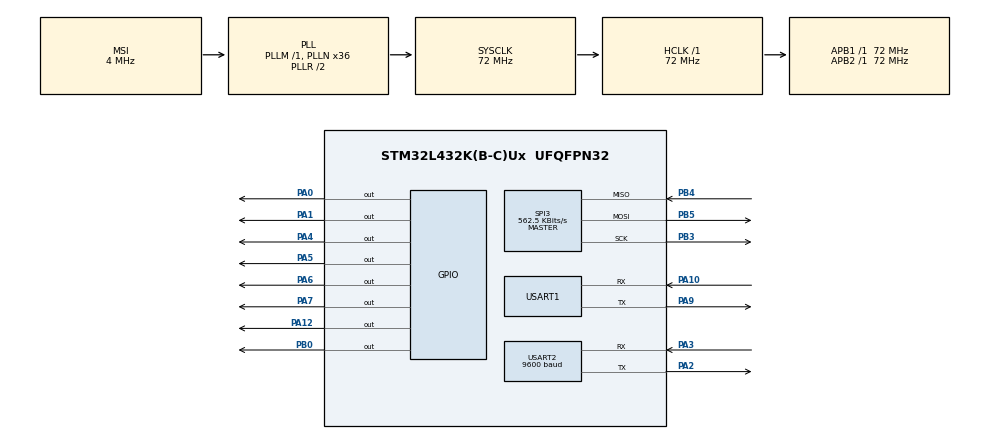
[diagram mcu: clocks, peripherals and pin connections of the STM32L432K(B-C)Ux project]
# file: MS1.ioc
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Mcu.Family=STM32L4
Mcu.Name=STM32L432K(B-C)Ux
Mcu.Package=UFQFPN32
NVIC.PriorityGroup=NVIC_PRIORITYGROUP_4
NVIC.USART1_IRQn=true\:0\:0\:false\:false\:true\:true\:true
PA0.Signal=GPIO_Output
PA1.Signal=GPIO_Output
PA10.Mode=Asynchronous
PA10.Signal=USART1_RX
PA12.Signal=GPIO_Output
PA2.Mode=Asynchronous
PA2.Signal=USART2_TX
PA3.Mode=Asynchronous
PA3.Signal=USART2_RX
PA4.Signal=GPIO_Output
PA5.Signal=GPIO_Output
PA6.Signal=GPIO_Output
PA7.Signal=GPIO_Output
PA9.Mode=Asynchronous
PA9.Signal=USART1_TX
PB0.Signal=GPIO_Output
PB3\ (JTDO-TRACESWO).Mode=Full_Duplex_Master
PB3\ (JTDO-TRACESWO).Signal=SPI3_SCK
PB4\ (NJTRST).Mode=Full_Duplex_Master
PB4\ (NJTRST).Signal=SPI3_MISO
PB5.Mode=Full_Duplex_Master
PB5.Signal=SPI3_MOSI
ProjectManager.HeapSize=0x200
ProjectManager.StackSize=0x400
ProjectManager.TargetToolchain=STM32CubeIDE
RCC.AHBFreq_Value=72000000
RCC.APB1Freq_Value=72000000
RCC.APB1TimFreq_Value=72000000
RCC.APB2Freq_Value=72000000
RCC.APB2TimFreq_Value=72000000
RCC.CortexFreq_Value=72000000
RCC.HCLKFreq_Value=72000000
RCC.HSE_VALUE=8000000
RCC.HSI48_VALUE=48000000
RCC.HSI_VALUE=16000000
RCC.LSE_VALUE=32768
RCC.MSI_VALUE=4000000
RCC.PLLN=36
RCC.SYSCLKFreq_VALUE=72000000
RCC.SYSCLKSource=RCC_SYSCLKSOURCE_PLLCLK
RCC.VCOOutputFreq_Value=144000000
SPI3.BaudRatePrescaler=SPI_BAUDRATEPRESCALER_128
SPI3.CalculateBaudRate=562.5 KBits/s
SPI3.DataSize=SPI_DATASIZE_8BIT
SPI3.Direction=SPI_DIRECTION_2LINES
SPI3.FirstBit=SPI_FIRSTBIT_LSB
SPI3.Mode=SPI_MODE_MASTER
SPI3.VirtualType=VM_MASTER
USART1.VirtualMode-Asynchronous=VM_ASYNC
USART2.BaudRate=9600
USART2.VirtualMode-Asynchronous=VM_ASYNC
board=custom

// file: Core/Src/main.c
/* USER CODE BEGIN Header */
/**
  ******************************************************************************
  * @file           : main.c
  * @brief          : Main program body
  ******************************************************************************
  * @attention
  *
  * Copyright (c) 2022 STMicroelectronics.
  * All rights reserved.
  *
  * This software is licensed under terms that can be found in the LICENSE file
  * in the root directory of this software component.
  * If no LICENSE file comes with this software, it is provided AS-IS.
  *
  ******************************************************************************
  */
/* USER CODE END Header */
#include "main.h"

/* USER CODE BEGIN Includes */
#include "pn532_stm32f1.h"
#include <stdio.h>
#include "lcd.h"
/* USER CODE END Includes */

SPI_HandleTypeDef hspi3;

UART_HandleTypeDef huart1;
UART_HandleTypeDef huart2;

void SystemClock_Config(void);
static void MX_GPIO_Init(void);
static void MX_SPI3_Init(void);
static void MX_USART2_UART_Init(void);
static void MX_USART1_UART_Init(void);

/* USER CODE BEGIN 0 */
char Buffer [1];
int status=0;
/* USER CODE END 0 */

int main(void)
{

  /* MCU Configuration--------------------------------------------------------*/

  /* Reset of all peripherals, Initializes the Flash interface and the Systick. */
  HAL_Init();

  /* Configure the system clock */
  SystemClock_Config();

  /* Initialize all configured peripherals */
  MX_GPIO_Init();
  MX_SPI3_Init();
  MX_USART2_UART_Init();
  MX_USART1_UART_Init();
  /* USER CODE BEGIN 2 */

  //NFC config
  PN532 pn532;
  PN532_SPI_Init(&pn532);

//  while(PN532_CallFunction(&pn532, PN532_COMMAND_GETFIRMWAREVERSION, NULL, 4, NULL, 0, 500) != PN532_STATUS_ERROR)
//  {
//	HAL_UART_Transmit(&huart2,"\rCould not connect to the RFID sensor\r\n",sizeof("\rCould not connect to the RFID sensor\r\n"), 10000);
//	HAL_Delay(1000);
//  }

  HAL_UART_Transmit(&huart2,"\rConnected to sensor successfully\n\r",sizeof("\rConnected to sensor successfully\n\r"), 10000);

  PN532_SamConfiguration(&pn532);

  //Enable IT receive
  HAL_UART_Receive_IT (&huart1, Buffer, 1);
  // LCD Configs
    // { D4_GPIO_Port, D5_GPIO_Port, D6_GPIO_Port, D7_GPIO_Port };
    Lcd_PortType ports[] = { GPIOA, GPIOA, GPIOA, GPIOA };
    // Lcd_PinType pins[] = {D4_Pin, D5_Pin, D6_Pin, D7_Pin};
    Lcd_PinType pins[] = {GPIO_PIN_4, GPIO_PIN_5, GPIO_PIN_6, GPIO_PIN_7};
    Lcd_HandleTypeDef lcd;
    // Lcd_create(ports, pins, RS_GPIO_Port, RS_Pin, EN_GPIO_Port, EN_Pin, LCD_4_BIT_MODE);
    lcd = Lcd_create(ports, pins, GPIOB, GPIO_PIN_0, GPIOA, GPIO_PIN_1, LCD_4_BIT_MODE);

  /* USER CODE END 2 */

  /* Infinite loop */
  /* USER CODE BEGIN WHILE */
  while (1)
  {

	  Lcd_cursor(&lcd, 0,1);

	  if (status == 1)
	  {
		  Lcd_clear(&lcd);
		  Lcd_string(&lcd, "User Found");
		  status=0;
	  }
	  else if(status == 2)
	  {
		  Lcd_clear(&lcd);
		  Lcd_string(&lcd, "User Not Found");
		  status=0;
	  }
	  else
	  {
		  Lcd_clear(&lcd);
		  Lcd_string(&lcd, "Please Scan ID");
	  }

	    HAL_Delay(1000);

		uint8_t Buffer[MIFARE_UID_MAX_LENGTH] = {0};
		int32_t Buffer_Size = 0;

	    Buffer_Size = PN532_ReadPassiveTarget(&pn532, Buffer, PN532_MIFARE_ISO14443A, 1000);

	    if (Buffer_Size != -1)
	    {
			unsigned char ID[8];

			for (int i = 0; i<Buffer_Size; i++)
				sprintf(ID + 2*i, "%02X ", (unsigned char)Buffer[i]);

			HAL_UART_Transmit(&huart2, "ID Detected: ",sizeof("ID Detected: "), 10000);
			HAL_UART_Transmit(&huart2,ID,sizeof(ID), 10000);
			HAL_UART_Transmit(&huart2, "\r\n",sizeof("\r\n"), 10000);

			HAL_UART_Transmit(&huart1,ID,sizeof(ID), 10000);

	    }

    /* USER CODE END WHILE */

  }
}

void SystemClock_Config(void)
{
  RCC_OscInitTypeDef RCC_OscInitStruct = {0};
  RCC_ClkInitTypeDef RCC_ClkInitStruct = {0};

  /** Configure the main internal regulator output voltage
  */
  if (HAL_PWREx_ControlVoltageScaling(PWR_REGULATOR_VOLTAGE_SCALE1) != HAL_OK)
  {
    Error_Handler();
  }
  /** Initializes the RCC Oscillators according to the specified parameters
  * in the RCC_OscInitTypeDef structure.
  */
  RCC_OscInitStruct.OscillatorType = RCC_OSCILLATORTYPE_MSI;
  RCC_OscInitStruct.MSIState = RCC_MSI_ON;
  RCC_OscInitStruct.MSICalibrationValue = 0;
  RCC_OscInitStruct.MSIClockRange = RCC_MSIRANGE_6;
  RCC_OscInitStruct.PLL.PLLState = RCC_PLL_ON;
  RCC_OscInitStruct.PLL.PLLSource = RCC_PLLSOURCE_MSI;
  RCC_OscInitStruct.PLL.PLLM = 1;
  RCC_OscInitStruct.PLL.PLLN = 36;
  RCC_OscInitStruct.PLL.PLLP = RCC_PLLP_DIV7;
  RCC_OscInitStruct.PLL.PLLQ = RCC_PLLQ_DIV2;
  RCC_OscInitStruct.PLL.PLLR = RCC_PLLR_DIV2;
  if (HAL_RCC_OscConfig(&RCC_OscInitStruct) != HAL_OK)
  {
    Error_Handler();
  }
  /** Initializes the CPU, AHB and APB buses clocks
  */
  RCC_ClkInitStruct.ClockType = RCC_CLOCKTYPE_HCLK|RCC_CLOCKTYPE_SYSCLK
                              |RCC_CLOCKTYPE_PCLK1|RCC_CLOCKTYPE_PCLK2;
  RCC_ClkInitStruct.SYSCLKSource = RCC_SYSCLKSOURCE_PLLCLK;
  RCC_ClkInitStruct.AHBCLKDivider = RCC_SYSCLK_DIV1;
  RCC_ClkInitStruct.APB1CLKDivider = RCC_HCLK_DIV1;
  RCC_ClkInitStruct.APB2CLKDivider = RCC_HCLK_DIV1;

  if (HAL_RCC_ClockConfig(&RCC_ClkInitStruct, FLASH_LATENCY_4) != HAL_OK)
  {
    Error_Handler();
  }
}

static void MX_SPI3_Init(void)
{

  /* SPI3 parameter configuration*/
  hspi3.Instance = SPI3;
  hspi3.Init.Mode = SPI_MODE_MASTER;
  hspi3.Init.Direction = SPI_DIRECTION_2LINES;
  hspi3.Init.DataSize = SPI_DATASIZE_8BIT;
  hspi3.Init.CLKPolarity = SPI_POLARITY_LOW;
  hspi3.Init.CLKPhase = SPI_PHASE_1EDGE;
  hspi3.Init.NSS = SPI_NSS_SOFT;
  hspi3.Init.BaudRatePrescaler = SPI_BAUDRATEPRESCALER_128;
  hspi3.Init.FirstBit = SPI_FIRSTBIT_LSB;
  hspi3.Init.TIMode = SPI_TIMODE_DISABLE;
  hspi3.Init.CRCCalculation = SPI_CRCCALCULATION_DISABLE;
  hspi3.Init.CRCPolynomial = 7;
  hspi3.Init.CRCLength = SPI_CRC_LENGTH_DATASIZE;
  hspi3.Init.NSSPMode = SPI_NSS_PULSE_ENABLE;
  if (HAL_SPI_Init(&hspi3) != HAL_OK)
  {
    Error_Handler();
  }

}

static void MX_USART1_UART_Init(void)
{

  huart1.Instance = USART1;
  huart1.Init.BaudRate = 115200;
  huart1.Init.WordLength = UART_WORDLENGTH_8B;
  huart1.Init.StopBits = UART_STOPBITS_1;
  huart1.Init.Parity = UART_PARITY_NONE;
  huart1.Init.Mode = UART_MODE_TX_RX;
  huart1.Init.HwFlowCtl = UART_HWCONTROL_NONE;
  huart1.Init.OverSampling = UART_OVERSAMPLING_16;
  huart1.Init.OneBitSampling = UART_ONE_BIT_SAMPLE_DISABLE;
  huart1.AdvancedInit.AdvFeatureInit = UART_ADVFEATURE_NO_INIT;
  if (HAL_UART_Init(&huart1) != HAL_OK)
  {
    Error_Handler();
  }

}

static void MX_USART2_UART_Init(void)
{

  huart2.Instance = USART2;
  huart2.Init.BaudRate = 9600;
  huart2.Init.WordLength = UART_WORDLENGTH_8B;
  huart2.Init.StopBits = UART_STOPBITS_1;
  huart2.Init.Parity = UART_PARITY_NONE;
  huart2.Init.Mode = UART_MODE_TX_RX;
  huart2.Init.HwFlowCtl = UART_HWCONTROL_NONE;
  huart2.Init.OverSampling = UART_OVERSAMPLING_16;
  huart2.Init.OneBitSampling = UART_ONE_BIT_SAMPLE_DISABLE;
  huart2.AdvancedInit.AdvFeatureInit = UART_ADVFEATURE_NO_INIT;
  if (HAL_UART_Init(&huart2) != HAL_OK)
  {
    Error_Handler();
  }

}

static void MX_GPIO_Init(void)
{
  GPIO_InitTypeDef GPIO_InitStruct = {0};

  /* GPIO Ports Clock Enable */
  __HAL_RCC_GPIOA_CLK_ENABLE();
  __HAL_RCC_GPIOB_CLK_ENABLE();

  /*Configure GPIO pin Output Level */
  HAL_GPIO_WritePin(GPIOA, GPIO_PIN_0|GPIO_PIN_1|GPIO_PIN_4|GPIO_PIN_5
                          |GPIO_PIN_6|GPIO_PIN_7|GPIO_PIN_12, GPIO_PIN_RESET);

  /*Configure GPIO pin Output Level */
  HAL_GPIO_WritePin(GPIOB, GPIO_PIN_0, GPIO_PIN_RESET);

  /*Configure GPIO pins : PA0 PA1 PA4 PA5
                           PA6 PA7 PA12 */
  GPIO_InitStruct.Pin = GPIO_PIN_0|GPIO_PIN_1|GPIO_PIN_4|GPIO_PIN_5
                          |GPIO_PIN_6|GPIO_PIN_7|GPIO_PIN_12;
  GPIO_InitStruct.Mode = GPIO_MODE_OUTPUT_PP;
  GPIO_InitStruct.Pull = GPIO_NOPULL;
  GPIO_InitStruct.Speed = GPIO_SPEED_FREQ_LOW;
  HAL_GPIO_Init(GPIOA, &GPIO_InitStruct);

  /*Configure GPIO pin : PB0 */
  GPIO_InitStruct.Pin = GPIO_PIN_0;
  GPIO_InitStruct.Mode = GPIO_MODE_OUTPUT_PP;
  GPIO_InitStruct.Pull = GPIO_NOPULL;
  GPIO_InitStruct.Speed = GPIO_SPEED_FREQ_LOW;
  HAL_GPIO_Init(GPIOB, &GPIO_InitStruct);

}

/* USER CODE BEGIN 4 */
void HAL_UART_RxCpltCallback(UART_HandleTypeDef *huart)
{
	if (Buffer [0] == '1'){
		HAL_UART_Transmit(&huart2,"User Found\r\n",sizeof("User Found\r\n"), 10000);
		status=1;
	}
	else if (Buffer[0] == '0'){
		HAL_UART_Transmit(&huart2,"User Not Found\r\n",sizeof("User Not Found\r\n"), 10000);
		status=2;
	}

	HAL_UART_Receive_IT (&huart1, Buffer, 1);
}
/* USER CODE END 4 */

void Error_Handler(void)
{
  __disable_irq();
  while (1)
  {
  }
}
